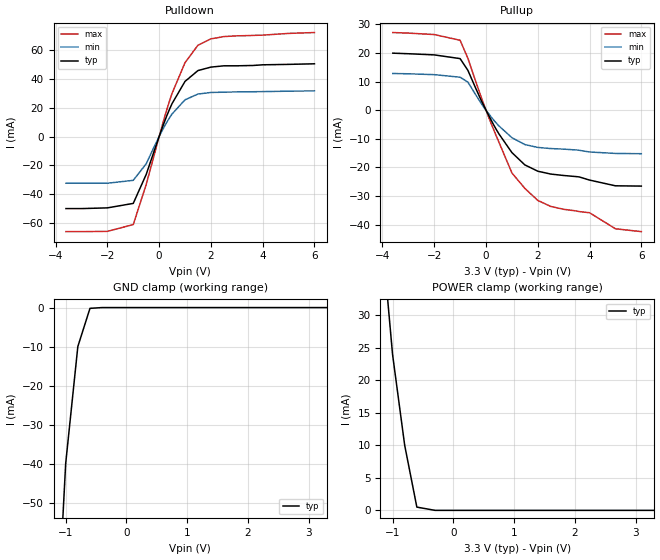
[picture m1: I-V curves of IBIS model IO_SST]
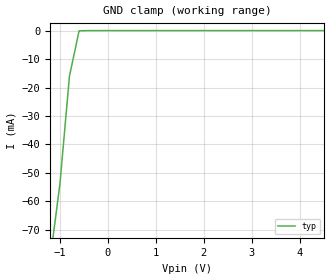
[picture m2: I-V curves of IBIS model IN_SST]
[IBIS Ver]   2.1
| sst29le010 32 pin DIP 1meg bit page-write flash VCC 3.0->3.6v
[File name]   29le010.ibs
[File Rev]   1.0
[Date]   Tue Jan  7 2003
[Source]   Spice for driver outputs, measured for protection devices
[Notes]   none
[Disclaimer]   This information is for modeling purposes only, and is not
   guaranteed and will vary by coponent
[Copyright]   Copyright SST Wed Jan 7 2003, all rights reserved
[Component]   SST29LE010-xxx-xx-PH | DIP 32 pin
[Manufacturer]  Silicon Storage Technology, SST
[Package]
| variable   typ   min   max
R_pkg   60m   58m   62m
L_pkg   10.0nH   5.0nH   15.0nH
C_pkg   2.0pF   1.0pF   3.0pF
[Pin]   signal_name   model_name
1   NC   NC
2   A16   IN_SST
3   A15   IN_SST
4   A12   IN_SST
5   A7   IN_SST
6   A6   IN_SST
7   A5   IN_SST
8   A4   IN_SST
9   A3   IN_SST
10   A2   IN_SST
11   A1   IN_SST
12   A0   IN_SST
13   DQ0   IO_SST
14   DQ1   IO_SST
15   DQ2   IO_SST
16   GND   GND
17   DQ3   IO_SST
18   DQ4   IO_SST
19   DQ5   IO_SST
20   DQ6   IO_SST
21   DQ7   IO_SST
22   CE#   IN_SST
23   A10   IN_SST
24   OE#   IN_SST
25   A11   IN_SST
26   A9   IN_SST
27   A8   IN_SST
28   A13   IN_SST
29   A14   IN_SST
30   NC   NC
31   WE#   IN_SST
32   VDD   POWER
| Models and submodels in the file (2): IO_SST (I/O), IN_SST (Input)
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| IO model
[Model] IO_SST
Model_type I/O
Vinl = 0.8V
Vinh = 2.0V
|   typ   min   max
C_comp  5.0pF   3.0pF   7.0pF
|   typ   min   max
[Temperature range]   25   0   70
|   typ   min   max
[Voltage range]   3.3   3.0   3.6
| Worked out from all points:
|   slope of the pulldown table from 0 to 0.495 V, typ, clamps not added: 21.8 ohm
|   slope of the pullup table from 0 to 0.495 V, typ, clamps not added: 60.2 ohm
|   GND clamp passes 1 mA (typ) near -0.62 V on its own axis
|   POWER clamp passes 1 mA (typ) near -0.61 V on its own axis
[Pulldown]
|   Voltage I(typ)  I(min)  I(max)
-3.6V     -50mA      -32.4mA    -66mA
-2V       -49.5mA    -32.4mA    -65.8mA
-1V       -46.4mA    -30.4mA    -61.1mA
-500mV    -26.3mA    -18.9mA    -33.3mA
0V        0A         0A         0A
200mV     10mA       6.9mA      12.9mA
500mV     22.9mA     15.7mA     30mA
1V        38.3mA     25.5mA     51.3mA
1.5V      45.8mA     29.5mA     63.4mA
2V        48.2mA     30.6mA     67.8mA
2.5V      49.1mA     30.8mA     69.4mA
6V        50.5mA     31.7mA     72.2mA
[pullup]
|   Voltage I(typ)  I(min)  I(max)
-3.6V     19.9mA     12.8mA     27.1mA
-2V       19.3mA     12.4mA     26.4mA
-1V       18mA       11.5mA     24.4mA
-700mV    13.9mA     9.8mA      18.1mA
300mV     -5.2mA     -3.5mA     -6.9mA
1V        -14.8mA    -9.6mA     -21.9mA
1.5V      -19.1mA    -12mA      -27.3mA
2V        -21.3mA    -13mA      -31.5mA
2.5V      -22.3mA    -13.4mA    -33.6mA
4V        -24.4mA    -14.6mA    -35.8mA
5V        -26.4mA    -15.1mA    -41.4mA
6V        -26.5mA    -15.2mA    -42.4mA
[GND_clamp]
|   voltage   I(typ) I(min) I(max)
-3.3V     -420mA     NA         NA
-2.5V     -360mA     NA         NA
-2V       -260mA     NA         NA
-1.4V     -140mA     NA         NA
-1.2V     -100mA     NA         NA
-1V       -40mA      NA         NA
-800mV    -10mA      NA         NA
-600mV    -200uA     NA         NA
-400mV    0A         NA         NA
-200mV    0A         NA         NA
0V        0A         NA         NA
3.3V      0A         NA         NA
[POWER_clamp]
|   voltage   I(typ) I(min) I(max)
-3.3V     348mA      NA         NA
-2.4V     240mA      NA         NA
-2.1V     150mA      NA         NA
-1.6V     90mA       NA         NA
-1.4V     65mA       NA         NA
-1.2V     45mA       NA         NA
-1V       24mA       NA         NA
-800mV    10mA       NA         NA
-600mV    500uA      NA         NA
-300mV    0A         NA         NA
0V        0A         NA         NA
3.3V      0A         NA         NA
[Ramp]
|variable   typ   min   max
dV/dt_r   0.61/1.0n   0.39/1.6n   1.26/0.6n
dV/dt_f   1.26/2.5n   1.22/4.7n   1.56/1.6n
[Model] IN_SST
Model_type Input
Vinl = 0.8v
Vinh = 2.0v
|   typ   min   max
C_comp 2.0pF   NA   NA
|   typ  min  max
[Voltage Range]  3.3v 3.0v 3.6v
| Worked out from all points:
|   GND clamp passes 1 mA (typ) near -0.61 V on its own axis
[GND_clamp]
|voltage I(typ)   I(min)   I(max)
-3.3V     -479mA     NA         NA
-1.2V     -80mA      NA         NA
-1V       -54mA      NA         NA
-800mV    -16mA      NA         NA
-600mV    -100uA     NA         NA
6.6V      0A         NA         NA
[POWER_clamp]
|voltage  I(typ) I(min)   I(max)
-3.3V     0A         NA         NA
0V        0A         NA         NA
3.3V      0A         NA         NA
6.6V      0A         NA         NA
